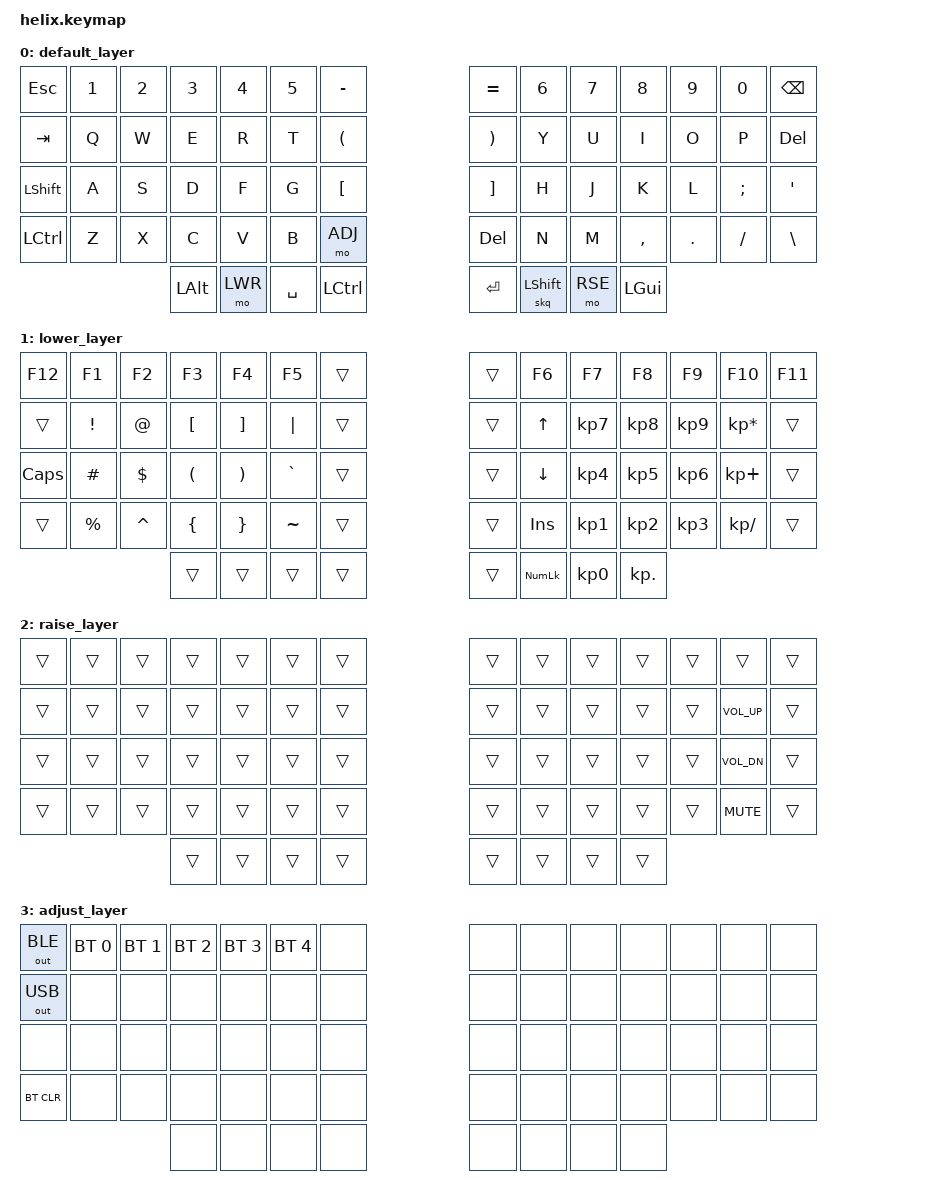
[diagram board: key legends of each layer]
/*
 * Copyright (c) 2020 The ZMK Contributors
 *
 * SPDX-License-Identifier: MIT
 */

 #include <behaviors.dtsi>
 #include <dt-bindings/zmk/keys.h>
 #include <dt-bindings/zmk/bt.h>
 #include <dt-bindings/zmk/outputs.h>

#define DEFAULT 0
#define LWR 1
#define RSE 2
#define ADJ 3

/ {
  behaviors {
    skq: sticky_key_quick_release {
		compatible = "zmk,behavior-sticky-key";
		label = "STICKY_KEY_QUICK_RELEASE";
		#binding-cells = <1>;
		bindings = <&kp>;
		release-after-ms = <500>;
		quick-release;
    };
	pht: positional_hold_tap {
		compatible = "zmk,behavior-hold-tap";
		label = "POSITIONAL_HOLD_TAP";
		#binding-cells = <2>;
		flavor = "hold-preferred";
		tapping-term-ms = <200>;
		quick-tap-ms = <200>;
		bindings = <&kp>, <&kp>;
	};
  };

    conditional_layers {
        compatible = "zmk,conditional-layers";
        tri_layer {
            if-layers = <1 2>;
            then-layer = <3>;
        };
    };
	
    keymap {
        compatible = "zmk,keymap";

        default_layer {
            bindings = <
             &kp ESC   &kp N1   &kp N2   &kp N3    &kp N4    &kp N5     &kp MINUS                        &kp EQUAL &kp N6  &kp N7   &kp N8    &kp N9   &kp N0   &kp BSPC  
             &kp TAB   &kp Q    &kp W    &kp E     &kp R     &kp T      &kp LPAR                         &kp RPAR  &kp Y   &kp U    &kp I     &kp O    &kp P    &kp DEL 
             &kp LSHFT &kp A    &kp S    &kp D     &kp F     &kp G      &kp LBKT                         &kp RBKT  &kp H   &kp J    &kp K     &kp L    &kp SEMI &kp SQT   
             &kp LCTRL &kp Z    &kp X    &kp C     &kp V     &kp B      &mo ADJ                          &kp DEL   &kp N   &kp M    &kp COMMA &kp DOT  &kp FSLH &kp BSLH  
                                         &kp LALT  &mo LWR &kp SPACE    &kp LCTRL                        &kp RET &skq LSHFT &mo RSE  &kp LGUI
            >;
        };

        lower_layer {
            bindings = <
             &kp F12  &kp F1    &kp F2    &kp F3    &kp F4    &kp F5     &trans                         &trans  &kp F6     &kp F7    &kp F8     &kp F9     &kp F10         &kp F11 
             &trans   &kp EXCL  &kp AT    &kp LBKT &kp RBKT   &kp PIPE   &trans                         &trans  &kp UP     &kp KP_N7 &kp KP_N8  &kp KP_N9  &kp KP_ASTERISK &trans  
             &kp CAPS &kp HASH  &kp DLLR  &kp LPAR &kp RPAR   &kp GRAVE  &trans                         &trans  &kp DOWN   &kp KP_N4 &kp KP_N5  &kp KP_N6  &kp KP_PLUS     &trans  
             &trans   &kp PRCNT &kp CARET &kp LBRC &kp RBRC   &kp TILDE  &trans                         &trans  &kp INS    &kp KP_N1 &kp KP_N2  &kp KP_N3  &kp KP_SLASH    &trans  
                                          &trans    &trans    &trans     &trans                         &trans  &kp KP_NUM &kp KP_N0 &kp KP_DOT      
            >;
        };

        raise_layer {
            bindings = <
             &trans  &trans    &trans      &trans    &trans    &trans    &trans                         &trans    &trans   &trans    &trans   &trans   &trans        &trans
             &trans  &trans    &trans      &trans    &trans    &trans    &trans                         &trans    &trans   &trans    &trans   &trans   &kp K_VOL_UP  &trans
             &trans  &trans    &trans      &trans    &trans    &trans    &trans                         &trans    &trans   &trans    &trans   &trans   &kp K_VOL_DN  &trans
             &trans  &trans    &trans      &trans    &trans    &trans    &trans                         &trans    &trans   &trans    &trans   &trans   &kp K_MUTE    &trans
                                           &trans    &trans    &trans    &trans                         &trans    &trans   &trans    &trans   
             >;
        };

        adjust_layer {
            bindings = <
            &out OUT_BLE &bt BT_SEL 0 &bt BT_SEL 1 &bt BT_SEL 2 &bt BT_SEL 3 &bt BT_SEL 4  &none                   &none &none  &none &none &none &none &none
            &out OUT_USB &none        &none        &none        &none       &none         &none                    &none &none &none &none &none &none &none
            &none        &none        &none        &none        &none        &none         &none                   &none &none  &none &none &none &none &none
            &bt BT_CLR   &none        &none        &none        &none        &none         &none                   &none &none  &none &none &none &none &none
                                      &none        &none        &none        &none         &none                   &none &none  &none 
                                  >;
        };
    };
};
